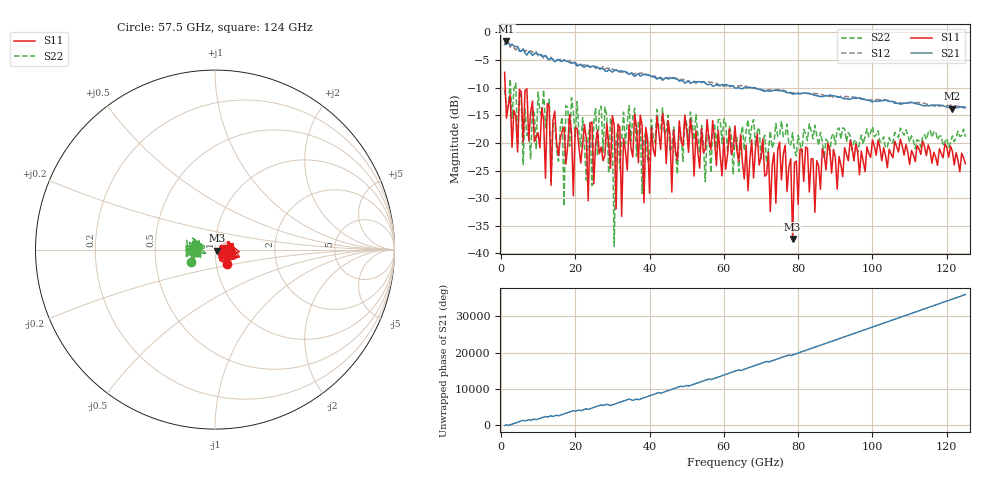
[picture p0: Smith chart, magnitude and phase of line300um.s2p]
! Created with skrf 2.1.0 (http://scikit-rf.org).
# GHz S RI R 50.0
!freq ReS11 ImS11 ReS21 ImS21 ReS12 ImS12 ReS22 ImS22
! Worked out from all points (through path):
!   249 points, 1 GHz to 125 GHz, reference 50 ohm
!   highest |S21| = -1.54 dB at 1.5 GHz (marker M1); lowest = -13.8 dB at 121.5 GHz (marker M2)
!   lowest |S11| = -37.4 dB at 78.5 GHz (marker M3), VSWR 1.03, Z = 51.2 - j0.647 ohm
!   |S11| at or under -10 dB: 1.168 GHz to end of sweep
!   |S22| runs from -38.7 to -8.4 dB; largest |S21 - S12| = 0.11
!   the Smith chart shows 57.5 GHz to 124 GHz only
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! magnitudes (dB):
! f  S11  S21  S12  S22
! 1 GHz  -7.2  -2.2  -1.4  -10.3
! 1.5 GHz  -15.5  -1.5  -1.5  -13.4
! 16.5 GHz  -17.9  -5.2  -5.2  -15.3
! 17 GHz  -17.1  -5.0  -4.9  -31.4
! 17.5 GHz  -23.8  -5.1  -5.2  -13.2
! 22 GHz  -20.2  -6.2  -5.9  -15.4
! 29.5 GHz  -24.6  -6.9  -6.8  -15.5
! 30.5 GHz  -16.8  -6.9  -6.9  -38.7
! 31 GHz  -31.9  -6.7  -6.9  -19.4
! 33 GHz  -19.2  -7.1  -7.4  -14.4
! 38 GHz  -16.8  -7.7  -7.4  -29.1
! 38.5 GHz  -30.8  -7.6  -7.6  -19.7
! 42.5 GHz  -18.0  -8.2  -8.2  -17.4
! 63 GHz  -16.9  -10.1  -9.8  -19.1
! 72.5 GHz  -32.4  -10.6  -10.3  -17.8
! 76.5 GHz  -20.4  -10.7  -10.6  -18.6
! 78.5 GHz  -37.4  -11.1  -10.9  -18.1
! 79 GHz  -23.6  -11.1  -11.0  -21.4
! 84 GHz  -22.9  -11.3  -10.9  -19.3
! 104.5 GHz  -21.1  -12.5  -12.3  -19.0
! 121.5 GHz  -21.5  -13.8  -13.2  -18.7
! 125 GHz  -23.8  -13.6  -13.6  -18.9
